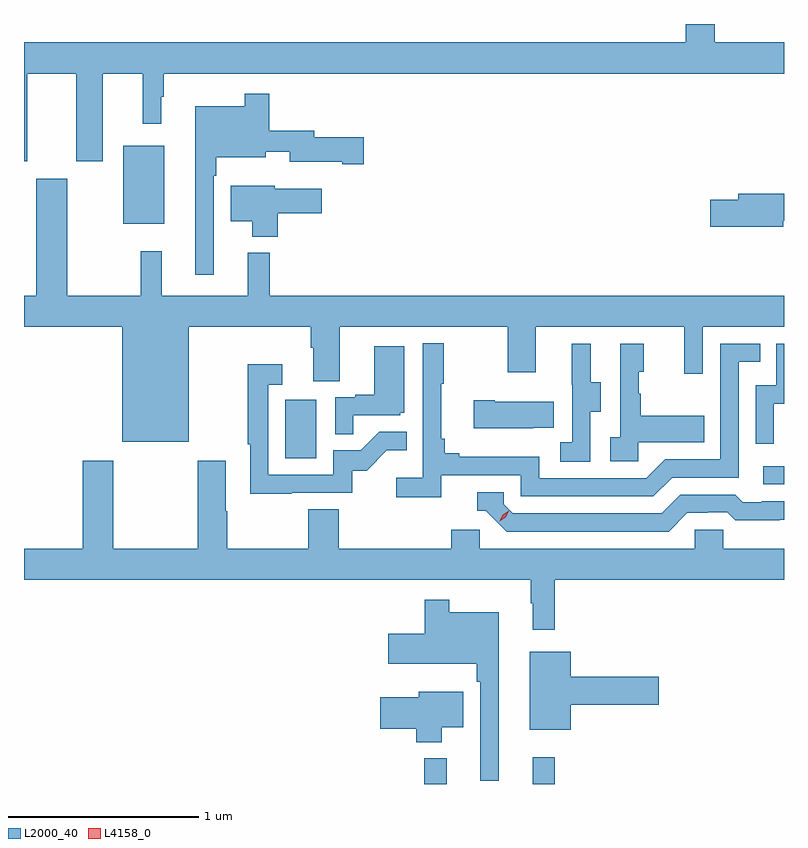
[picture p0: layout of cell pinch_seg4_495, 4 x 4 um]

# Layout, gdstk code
import gdstk
lib = gdstk.Library(unit=1e-6, precision=1e-09)
def R(c, l, rs):  # rectangles x0, y0, x1, y1
    for r in rs: c.add(gdstk.rectangle(r[:2], r[2:], *l))
def P(c, l, *ps):  # polygons
    for p in ps: c.add(gdstk.Polygon(p, *l))
L2000_40 = (2000, 40)
L4158_0 = (4158, 0)

pinch_seg4_495 = lib.new_cell('pinch_seg4_495')
R(pinch_seg4_495, L2000_40, [(974.353,763.777,974.471,763.912), (974.924,763.777,975.041,763.918), (976.137,765.354,976.247,765.45), (973.622,765.492,973.786,765.799), (972.77,766.727,972.985,767.137)])
P(pinch_seg4_495, L2000_40, [(972.265,767.516),(972.521,767.516),(972.521,767.055),(972.661,767.055),(972.661,767.516),(972.872,767.516),(972.872,767.253),(972.97,767.253),(972.97,767.393),(972.982,767.393),(972.982,767.516),(976.247,767.516),(976.247,767.68),(975.883,767.68),(975.883,767.777),(975.731,767.777),(975.731,767.68),(972.247,767.68),(972.247,767.055),(972.265,767.055)],
  [(973.245,766.979),(973.258,766.979),(973.258,767.075),(973.519,767.075),(973.519,767.105),(973.646,767.105),(973.646,767.051),(973.922,767.051),(973.922,767.039),(974.035,767.039),(974.035,767.181),(973.774,767.181),(973.774,767.215),(973.538,767.215),(973.538,767.41),(973.41,767.41),(973.41,767.344),(973.148,767.344),(973.148,766.458),(973.245,766.458)],
  [(973.583,766.78),(973.813,766.78),(973.813,766.909),(973.566,766.909),(973.566,766.927),(973.334,766.927),(973.334,766.739),(973.448,766.739),(973.448,766.658),(973.583,766.658)],
  [(976.242,766.742),(976.247,766.742),(976.247,766.883),(976.007,766.883),(976.007,766.853),(975.858,766.853),(975.858,766.711),(976.242,766.711)],
  [(973.541,766.573),(973.424,766.573),(973.424,766.348),(972.971,766.348),(972.971,766.582),(972.861,766.582),(972.861,766.348),(972.475,766.348),(972.475,766.963),(972.311,766.963),(972.311,766.348),(972.247,766.348),(972.247,766.184),(972.764,766.184),(972.764,765.578),(973.114,765.578),(973.114,766.184),(973.757,766.184),(973.757,766.072),(973.769,766.072),(973.769,765.898),(973.909,765.898),(973.909,766.184),(974.794,766.184),(974.794,765.945),(974.941,765.945),(974.941,766.184),(975.722,766.184),(975.722,765.936),(975.819,765.936),(975.819,766.184),(976.247,766.184),(976.247,766.348),(973.541,766.348)],
  [(974.444,765.402),(974.862,765.402),(974.862,765.291),(975.559,765.291),(975.658,765.39),(976.008,765.39),(976.008,765.999),(976.121,765.999),(976.121,766.095),(975.912,766.095),(975.912,765.486),(975.621,765.486),(975.522,765.387),(974.958,765.387),(974.958,765.499),(974.539,765.499),(974.539,765.518),(974.462,765.518),(974.462,765.595),(974.443,765.595),(974.443,765.883),(974.455,765.883),(974.455,766.096),(974.346,766.096),(974.346,765.388),(974.205,765.388),(974.205,765.286),(974.444,765.286)],
  [(976.194,765.779),(976.247,765.779),(976.247,766.095),(976.206,766.095),(976.206,765.876),(976.098,765.876),(976.098,765.567),(976.194,765.567)],
  [(975.228,765.736),(975.283,765.736),(975.283,765.891),(975.229,765.891),(975.229,766.093),(975.131,766.093),(975.131,765.879),(975.132,765.879),(975.132,765.575),(975.069,765.575),(975.069,765.472),(975.228,765.472)],
  [(975.48,765.575),(975.827,765.575),(975.827,765.715),(975.493,765.715),(975.493,765.83),(975.483,765.83),(975.483,765.948),(975.508,765.948),(975.508,766.093),(975.384,766.093),(975.384,765.602),(975.333,765.602),(975.333,765.477),(975.48,765.477)],
  [(973.979,765.717),(974.226,765.717),(974.226,765.732),(974.248,765.732),(974.248,766.081),(974.09,766.081),(974.09,765.826),(973.991,765.826),(973.991,765.813),(973.884,765.813),(973.884,765.619),(973.979,765.619)],
  [(973.655,765.309),(973.974,765.309),(973.974,765.426),(974.05,765.426),(974.157,765.533),(974.261,765.533),(974.261,765.632),(974.117,765.632),(974.019,765.534),(973.875,765.534),(973.875,765.405),(973.533,765.405),(973.533,765.879),(973.606,765.879),(973.606,765.985),(973.425,765.985),(973.425,765.565),(973.437,765.565),(973.437,765.304),(973.655,765.304)],
  [(974.927,765.653),(975.035,765.653),(975.035,765.79),(974.725,765.79),(974.725,765.798),(974.613,765.798),(974.613,765.65),(974.927,765.65)],
  [(975.041,764.852),(976.247,764.852),(976.247,765.016),(975.927,765.016),(975.927,765.114),(975.777,765.114),(975.777,765.016),(974.646,765.016),(974.646,765.114),(974.495,765.114),(974.495,765.016),(973.904,765.016),(973.904,765.224),(973.744,765.224),(973.744,765.016),(973.317,765.016),(973.317,765.212),(973.309,765.212),(973.309,765.478),(973.162,765.478),(973.162,765.016),(972.717,765.016),(972.717,765.478),(972.557,765.478),(972.557,765.016),(972.247,765.016),(972.247,764.852),(974.913,764.852),(974.913,764.729),(974.924,764.729),(974.924,764.589),(975.041,764.589)],
  [(975.739,765.204),(975.846,765.204),(975.846,765.207),(975.949,765.207),(975.991,765.165),(976.224,765.165),(976.224,765.167),(976.247,765.167),(976.247,765.264),(976.129,765.264),(976.129,765.261),(976.03,765.261),(975.991,765.3),(975.702,765.3),(975.603,765.201),(974.82,765.201),(974.772,765.249),(974.772,765.312),(974.633,765.312),(974.633,765.216),(974.676,765.216),(974.787,765.105),(975.64,765.105)],
  [(974.746,764.68),(974.485,764.68),(974.485,764.746),(974.356,764.746),(974.356,764.569),(974.163,764.569),(974.163,764.411),(974.629,764.411),(974.629,764.315),(974.649,764.315),(974.649,763.794),(974.746,763.794)],
  [(975.124,764.195),(975.589,764.195),(975.589,764.342),(975.124,764.342),(975.124,764.473),(974.909,764.473),(974.909,764.063),(975.124,764.063)],
  [(974.446,764.075),(974.56,764.075),(974.56,764.263),(974.324,764.263),(974.324,764.233),(974.121,764.233),(974.121,764.068),(974.312,764.068),(974.312,763.997),(974.446,763.997)])
P(pinch_seg4_495, L4158_0, [(974.751,765.161),(974.751,765.161),(974.767,765.194),(974.797,765.214),(974.798,765.214),(974.798,765.214),(974.782,765.181),(974.751,765.161)])

lib.write_gds('pinch_seg4_495.gds')
